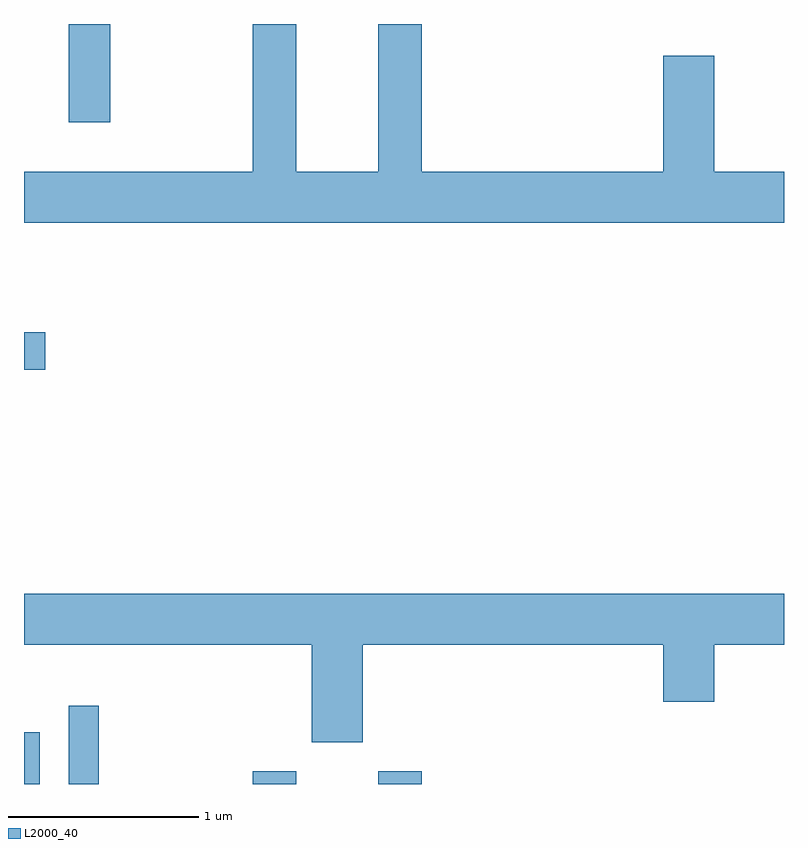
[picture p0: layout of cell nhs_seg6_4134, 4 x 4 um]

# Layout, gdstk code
import gdstk
lib = gdstk.Library(unit=1e-6, precision=1e-09)
def R(c, l, rs):  # rectangles x0, y0, x1, y1
    for r in rs: c.add(gdstk.rectangle(r[:2], r[2:], *l))
def P(c, l, *ps):  # polygons
    for p in ps: c.add(gdstk.Polygon(p, *l))
L2000_40 = (2000, 40)

nhs_seg6_4134 = lib.new_cell('nhs_seg6_4134')
R(nhs_seg6_4134, L2000_40, [(311.611,1578.162,311.694,1578.434), (311.846,1578.162,312.004,1578.573), (312.816,1578.162,313.044,1578.229), (313.476,1578.162,313.704,1578.229), (311.611,1580.341,311.724,1580.539), (311.846,1581.646,312.064,1582.162)])
P(nhs_seg6_4134, L2000_40, [(315.611,1581.384),(315.244,1581.384),(315.244,1581.994),(314.976,1581.994),(314.976,1581.384),(313.704,1581.384),(313.704,1582.162),(313.476,1582.162),(313.476,1581.384),(313.044,1581.384),(313.044,1582.162),(312.816,1582.162),(312.816,1581.384),(311.611,1581.384),(311.611,1581.116),(315.611,1581.116)],
  [(313.394,1578.896),(314.976,1578.896),(314.976,1578.596),(315.244,1578.596),(315.244,1578.896),(315.611,1578.896),(315.611,1579.164),(311.611,1579.164),(311.611,1578.896),(313.126,1578.896),(313.126,1578.381),(313.394,1578.381)])

lib.write_gds('nhs_seg6_4134.gds')
